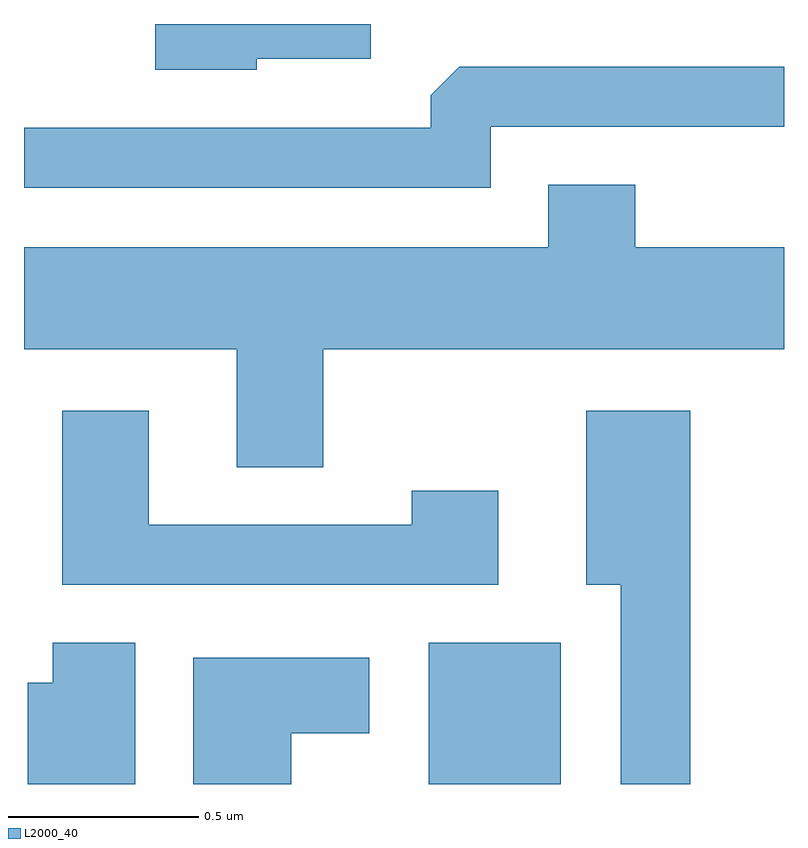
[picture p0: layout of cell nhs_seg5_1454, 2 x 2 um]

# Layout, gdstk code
import gdstk
lib = gdstk.Library(unit=1e-6, precision=1e-09)
def R(c, l, rs):  # rectangles x0, y0, x1, y1
    for r in rs: c.add(gdstk.rectangle(r[:2], r[2:], *l))
def P(c, l, *ps):  # polygons
    for p in ps: c.add(gdstk.Polygon(p, *l))
L2000_40 = (2000, 40)

nhs_seg5_1454 = lib.new_cell('nhs_seg5_1454')
R(nhs_seg5_1454, L2000_40, [(196.676,1480.072,197.024,1480.444)])
P(nhs_seg5_1454, L2000_40, [(196.224,1481.981),(196.524,1481.981),(196.524,1482.072),(195.956,1482.072),(195.956,1481.951),(196.224,1481.951)],
  [(196.839,1481.801),(197.611,1481.801),(197.611,1481.959),(196.757,1481.959),(196.681,1481.884),(196.681,1481.799),(195.611,1481.799),(195.611,1481.641),(196.839,1481.641)],
  [(196.399,1481.216),(197.611,1481.216),(197.611,1481.484),(197.219,1481.484),(197.219,1481.649),(196.991,1481.649),(196.991,1481.484),(195.611,1481.484),(195.611,1481.216),(196.171,1481.216),(196.171,1480.906),(196.399,1480.906)],
  [(197.364,1481.054),(197.091,1481.054),(197.091,1480.596),(197.181,1480.596),(197.181,1480.072),(197.364,1480.072)],
  [(196.859,1480.844),(196.631,1480.844),(196.631,1480.754),(195.939,1480.754),(195.939,1481.054),(195.711,1481.054),(195.711,1480.596),(196.859,1480.596)],
  [(195.904,1480.444),(195.686,1480.444),(195.686,1480.339),(195.621,1480.339),(195.621,1480.072),(195.904,1480.072)],
  [(196.314,1480.206),(196.519,1480.206),(196.519,1480.404),(196.056,1480.404),(196.056,1480.072),(196.314,1480.072)])

lib.write_gds('nhs_seg5_1454.gds')
